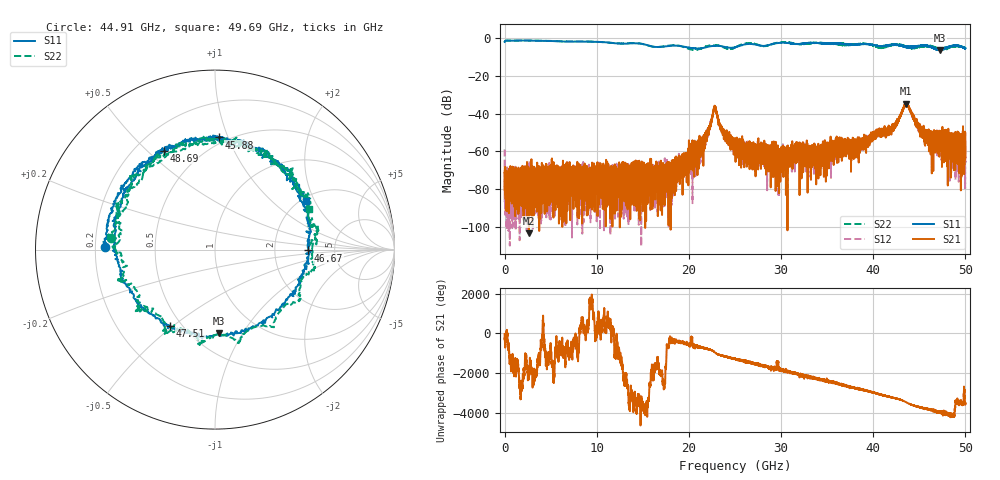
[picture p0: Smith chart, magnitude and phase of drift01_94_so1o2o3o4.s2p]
!Created with skrf (http://scikit-rf.org).
# Hz S RI R 50.0
!freq ReS11 ImS11 ReS21 ImS21 ReS12 ImS12 ReS22 ImS22
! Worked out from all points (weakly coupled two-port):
!   10001 points, 300 kHz to 50 GHz, reference 50 ohm
!   highest |S21| = -34.81 dB at 43.59 GHz (marker M1); lowest = -103.3 dB at 2.635 GHz (marker M2)
!   lowest |S11| = -6.6 dB at 47.28 GHz (marker M3), VSWR 2.75, Z = 33.3 - j39.7 ohm
!   |S11| at or under -10 dB: nowhere
!   |S22| runs from -6.5 to -1.4 dB; largest |S21 - S12| = 0.0041
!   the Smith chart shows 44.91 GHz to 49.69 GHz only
!   S11 on the Smith chart (normalised r, x): 44.91 GHz: 0.24, +0.01; 45.88 GHz: 0.45, +0.93; 46.67 GHz: 3.15, -0.04; 47.51 GHz: 0.43, -0.49; 48.69 GHz: 0.31, +0.56; 49.69 GHz: 2.13, +1.70
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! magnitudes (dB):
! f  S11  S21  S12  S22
! 300 kHz  -2.1  -71.2  -58.9  -2.1
! 255.3 MHz  -1.4  -79.3  -78.2  -1.4
! 2.635 GHz  -1.4  -103.3  -77.9  -1.4
! 8.335 GHz  -1.9  -77.8  -70.3  -1.8
! 16.67 GHz  -4.8  -72.3  -67.8  -4.8
! 18.03 GHz  -4.2  -80.0  -70.1  -4.0
! 21.02 GHz  -5.6  -56.1  -56.6  -6.1
! 22.79 GHz  -4.3  -35.9  -36.4  -4.0
! 23.79 GHz  -4.7  -50.9  -49.4  -5.0
! 25 GHz  -5.0  -57.0  -56.2  -5.1
! 29.71 GHz  -2.7  -61.8  -64.1  -2.5
! 33.34 GHz  -2.6  -63.8  -59.3  -2.7
! 41.67 GHz  -3.9  -50.3  -50.3  -4.1
! 43.59 GHz  -4.8  -34.8  -35.2  -4.8
! 44.91 GHz  -4.3  -46.3  -47.5  -4.6
! 45.88 GHz  -4.1  -53.2  -53.8  -4.2
! 46.67 GHz  -5.7  -56.4  -54.0  -5.4
! 47.28 GHz  -6.6  -56.9  -52.9  -5.7
! 47.51 GHz  -6.1  -47.0  -51.5  -6.4
! 48.69 GHz  -4.1  -63.6  -54.7  -4.6
! 49.69 GHz  -4.8  -55.7  -55.3  -4.9
! 50 GHz  -5.5  -50.4  -61.0  -5.4
